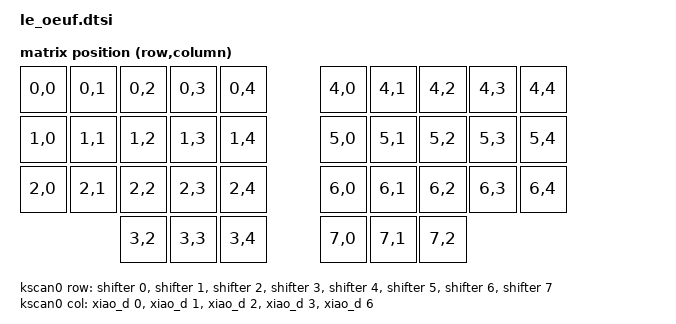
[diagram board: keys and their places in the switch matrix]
/*
 * Copyright (c) 2024 Travis Mick
 * SPDX-License-Identifier: MIT
 */

#include <dt-bindings/zmk/matrix_transform.h>

#include "le_oeuf-layouts.dtsi"

&physical_layout0 {
    kscan = <&kscan0>;
    transform = <&default_transform>;
};

/ {

	chosen {
		zmk,kscan = &kscan0;
		zmk,physical-layout = &physical_layout0;
	};

	default_transform: keymap_transform_0 {
		compatible = "zmk,matrix-transform";
		columns = <5>;
		rows = <8>;
		map = <
			         RC(0,0) RC(0,1) RC(0,2) RC(0,3) RC(0,4)  RC(4,0) RC(4,1) RC(4,2) RC(4,3) RC(4,4)
	                 RC(1,0) RC(1,1) RC(1,2) RC(1,3) RC(1,4)  RC(5,0) RC(5,1) RC(5,2) RC(5,3) RC(5,4) 
			         RC(2,0) RC(2,1) RC(2,2) RC(2,3) RC(2,4)  RC(6,0) RC(6,1) RC(6,2) RC(6,3) RC(6,4)
							         RC(3,2) RC(3,3) RC(3,4)  RC(7,0) RC(7,1) RC(7,2)
		>;
	};

	kscan0: kscan {
		compatible = "zmk,kscan-gpio-matrix";
		diode-direction = "row2col";
		col-gpios =
            <&xiao_d 0 (GPIO_ACTIVE_HIGH | GPIO_PULL_DOWN)>,
            <&xiao_d 1 (GPIO_ACTIVE_HIGH | GPIO_PULL_DOWN)>,
            <&xiao_d 2 (GPIO_ACTIVE_HIGH | GPIO_PULL_DOWN)>,
            <&xiao_d 3 (GPIO_ACTIVE_HIGH | GPIO_PULL_DOWN)>,
			<&xiao_d 6 (GPIO_ACTIVE_HIGH | GPIO_PULL_DOWN)>
		;
		row-gpios = 
			<&shifter 0 GPIO_ACTIVE_HIGH>,
			<&shifter 1 GPIO_ACTIVE_HIGH>,
			<&shifter 2 GPIO_ACTIVE_HIGH>,
			<&shifter 3 GPIO_ACTIVE_HIGH>,
			<&shifter 4 GPIO_ACTIVE_HIGH>,
			<&shifter 5 GPIO_ACTIVE_HIGH>,
			<&shifter 6 GPIO_ACTIVE_HIGH>,
			<&shifter 7 GPIO_ACTIVE_HIGH>
		;
	};

};
